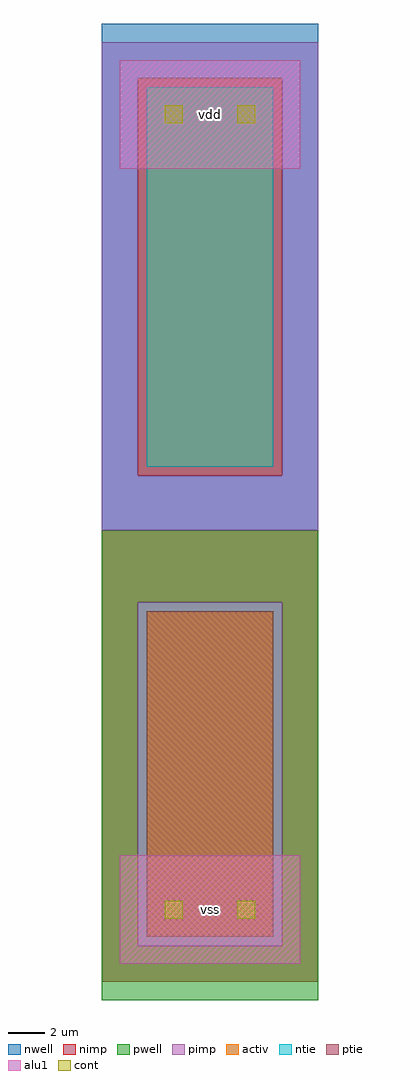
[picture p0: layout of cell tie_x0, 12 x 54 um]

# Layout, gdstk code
import gdstk
lib = gdstk.Library(unit=1e-6, precision=1e-09)
def R(c, l, rs):  # rectangles x0, y0, x1, y1
    for r in rs: c.add(gdstk.rectangle(r[:2], r[2:], *l))
ntie = (5, 0)
ptie = (6, 0)
cont = (25, 0)
pwell = (41, 0)
nwell = (42, 0)
activ = (43, 0)
pimp = (44, 0)
nimp = (45, 0)
alu1 = (49, 0)

tie_x0 = lib.new_cell('tie_x0')
R(tie_x0, ntie, [(1.5,27.5,8.5,48.5)])
R(tie_x0, ptie, [(1.5,1.5,8.5,19.5)])
R(tie_x0, cont, [(2.5,2.5,3.5,3.5), (6.5,2.5,7.5,3.5), (2.5,46.5,3.5,47.5), (6.5,46.5,7.5,47.5)])
R(tie_x0, pwell, [(-1,-2,11,24)])
R(tie_x0, nwell, [(-1,24,11,52)])
R(tie_x0, activ, [(1.5,1.5,8.5,19.5), (1.5,27.5,8.5,48.5)])
R(tie_x0, pimp, [(1,1,9,20), (-1,24,11,27), (-1,27,1,49), (9,27,11,49), (-1,49,11,51)])
R(tie_x0, nimp, [(-1,-1,11,1), (-1,1,1,20), (9,1,11,20), (-1,20,11,24), (1,27,9,49)])
R(tie_x0, alu1, [(0,0,10,6), (0,44,10,50)])
tie_x0.add(gdstk.Label('vss', (5,3), layer=49, texttype=0))
tie_x0.add(gdstk.Label('vdd', (5,47), layer=49, texttype=0))

lib.write_gds('tie_x0.gds')
